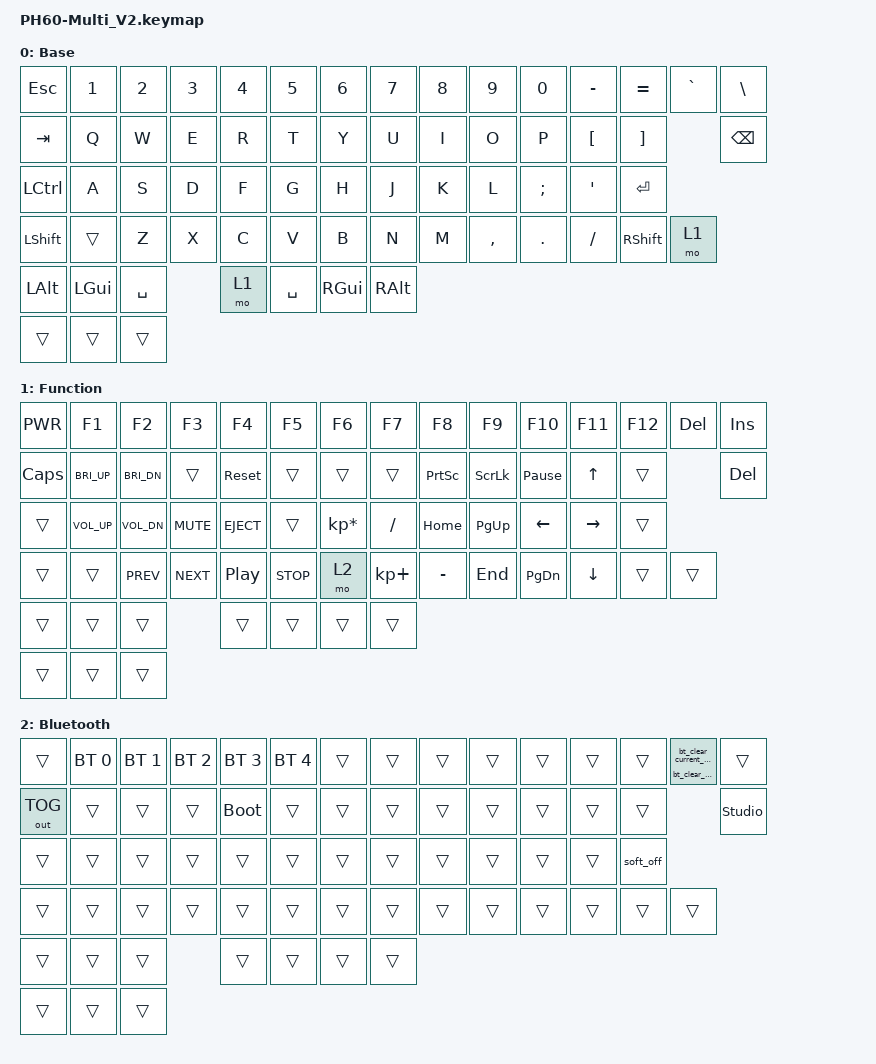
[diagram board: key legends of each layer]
/*
 * Copyright (c) 2025 Team PHDesign
 *
 * SPDX-License-Identifier: MIT
 */

#include <behaviors.dtsi>
#include <dt-bindings/zmk/keys.h>
#include <dt-bindings/zmk/bt.h>
#include <dt-bindings/zmk/outputs.h>
#include <dt-bindings/zmk/pointing.h>



/ {

    behaviors {

        // Macro to clear current BT profile (tap)
        bt_clear_current_macro: bt_clear_current_macro {
            compatible = "zmk,behavior-macro";
            #binding-cells = <0>;
            bindings = <&bt BT_CLR>;
        };

        // Macro to clear all BT profiles (hold)
        bt_clear_all_macro: bt_clear_all_macro {
            compatible = "zmk,behavior-macro";
            #binding-cells = <0>;
            bindings = <&bt BT_CLR_ALL>;
        };

        // Hold to clear all BT profiles, Tap to clear current
        bt_clear_holdtap: bt_clear_holdtap {
            compatible = "zmk,behavior-hold-tap";
            #binding-cells = <2>;
            flavor = "tap-preferred";
            tapping-term-ms = <3000>;
            bindings = <&bt_clear_all_macro>, <&bt_clear_current_macro>;
        };

        // Default mod-tap — hold-preferred, 200ms
        ht_def: ht_def {
            compatible = "zmk,behavior-hold-tap";
            #binding-cells = <2>;
            flavor = "hold-preferred";
            tapping-term-ms = <200>;
            bindings = <&kp>, <&kp>;
        };

        // Fast mod-tap — balanced, 150ms, quick-tap 100ms
        ht_fast: ht_fast {
            compatible = "zmk,behavior-hold-tap";
            #binding-cells = <2>;
            flavor = "balanced";
            tapping-term-ms = <150>;
            quick-tap-ms = <100>;
            bindings = <&kp>, <&kp>;
        };

        // Slow layer-tap — tap-preferred, 280ms, retro-tap on
        ht_slow: ht_slow {
            compatible = "zmk,behavior-hold-tap";
            #binding-cells = <2>;
            flavor = "tap-preferred";
            tapping-term-ms = <280>;
            retro-tap;
            bindings = <&mo>, <&kp>;
        };

        // User slots — default to hold-preferred 200ms, tweak in Studio
        ht_user1: ht_user1 {
            compatible = "zmk,behavior-hold-tap";
            #binding-cells = <2>;
            flavor = "hold-preferred";
            tapping-term-ms = <200>;
            bindings = <&kp>, <&kp>;
        };

        ht_user2: ht_user2 {
            compatible = "zmk,behavior-hold-tap";
            #binding-cells = <2>;
            flavor = "hold-preferred";
            tapping-term-ms = <200>;
            bindings = <&kp>, <&kp>;
        };

        ht_user3: ht_user3 {
            compatible = "zmk,behavior-hold-tap";
            #binding-cells = <2>;
            flavor = "hold-preferred";
            tapping-term-ms = <200>;
            bindings = <&kp>, <&kp>;
        };

        ht_user4: ht_user4 {
            compatible = "zmk,behavior-hold-tap";
            #binding-cells = <2>;
            flavor = "hold-preferred";
            tapping-term-ms = <200>;
            bindings = <&kp>, <&kp>;
        };

    };

    combos {
        compatible = "zmk,combos";

        combo_reserved_0 {
            reserved;
            key-positions = <0 1>;
            bindings = <&none>;
        };

        combo_reserved_1 {
            reserved;
            key-positions = <0 1>;
            bindings = <&none>;
        };

        combo_reserved_2 {
            reserved;
            key-positions = <0 1>;
            bindings = <&none>;
        };

        combo_reserved_3 {
            reserved;
            key-positions = <0 1>;
            bindings = <&none>;
        };

        combo_reserved_4 {
            reserved;
            key-positions = <0 1>;
            bindings = <&none>;
        };
    };

    keymap {
        compatible = "zmk,keymap";

        default_layer {
            display-name = "Base";
            bindings = <
&kp ESC   &kp N1 &kp N2 &kp N3 &kp N4 &kp N5 &kp N6 &kp N7 &kp N8    &kp N9    &kp N0    &kp MINUS &kp EQUAL   &kp GRAVE  &kp BSLH
&kp TAB   &kp Q  &kp W  &kp E  &kp R  &kp T  &kp Y  &kp U  &kp I     &kp O     &kp P     &kp LBKT  &kp RBKT               &kp BSPC
&kp LCTRL &kp A  &kp S  &kp D  &kp F  &kp G  &kp H  &kp J  &kp K     &kp L     &kp SEMI  &kp SQT   &kp RET
&kp LSHFT &trans &kp Z  &kp X  &kp C  &kp V  &kp B  &kp N  &kp M     &kp COMMA &kp DOT   &kp SLASH &kp RSHFT  &mo 1
&kp LALT &kp LGUI &kp SPACE &mo 1 &kp SPACE &kp RGUI &kp RALT
&trans &trans &trans
            >;
        };

        function_layer {
            display-name = "Function";
            bindings = <
&kp C_PWR &kp F1       &kp F2       &kp F3     &kp F4      &kp F5   &kp F6          &kp F7      &kp F8     &kp F9    &kp F10         &kp F11   &kp F12 &kp DEL   &kp INS
&kp CAPS  &kp C_BRI_UP &kp C_BRI_DN &trans     &sys_reset  &trans   &trans          &trans      &kp PSCRN  &kp SLCK  &kp PAUSE_BREAK &kp UP    &trans  &kp DEL
&trans    &kp C_VOL_UP &kp C_VOL_DN &kp C_MUTE &kp C_EJECT &trans   &kp KP_MULTIPLY &kp FSLH    &kp HOME   &kp PG_UP &kp LEFT        &kp RIGHT &trans
&trans    &trans       &kp C_PREV   &kp C_NEXT &kp C_PP    &kp C_STOP &mo 2         &kp KP_PLUS &kp MINUS  &kp END   &kp PG_DN       &kp DOWN  &trans  &trans
&trans    &trans       &trans       &trans     &trans      &trans   &trans
&trans &trans &trans
            >;
        };

        bluetooth_layer {
            display-name = "Bluetooth";
            bindings = <
&trans       &bt BT_SEL 0  &bt BT_SEL 1  &bt BT_SEL 2  &bt BT_SEL 3  &bt BT_SEL 4  &trans  &trans  &trans  &trans  &trans  &trans  &trans  &bt_clear_holdtap 0 0  &trans
&out OUT_TOG &trans        &trans        &trans        &bootloader   &trans        &trans  &trans  &trans  &trans  &trans  &trans  &trans  &studio_unlock
&trans       &trans        &trans        &trans        &trans        &trans        &trans  &trans  &trans  &trans  &trans  &trans          &soft_off
&trans       &trans        &trans        &trans        &trans        &trans        &trans  &trans  &trans  &trans  &trans  &trans          &trans  &trans
&trans       &trans        &trans        &trans        &trans        &trans        &trans
&trans &trans &trans
            >;
        };

        extra1 {
            display-name = "Extra 1";
            status = "reserved";
        };

        extra2 {
            display-name = "Extra 2";
            status = "reserved";
        };
    };
};
